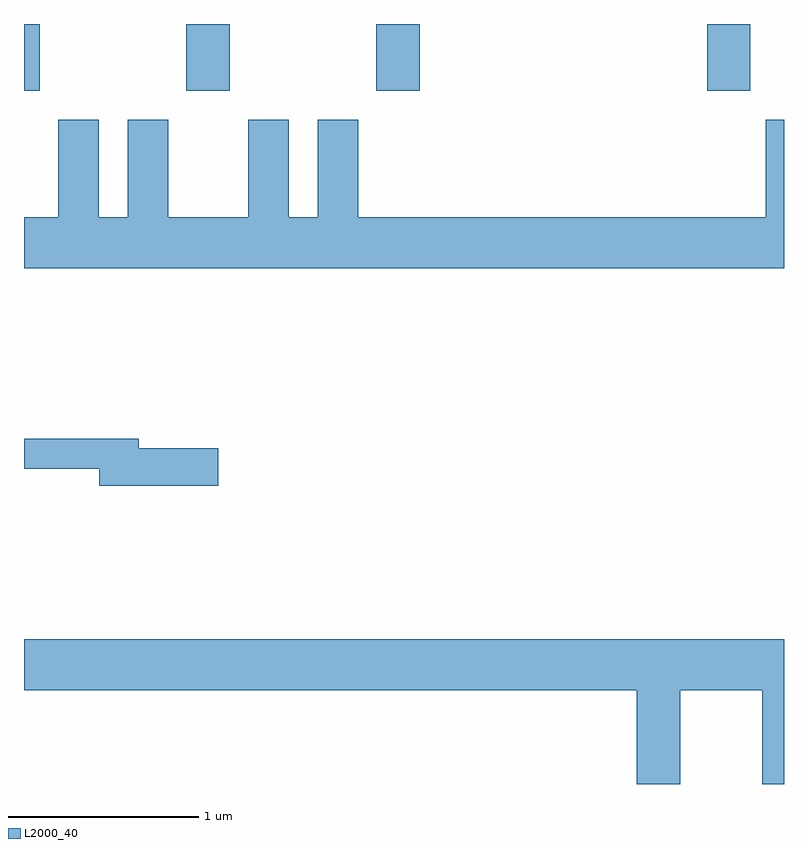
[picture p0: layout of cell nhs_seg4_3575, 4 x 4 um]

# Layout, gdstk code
import gdstk
lib = gdstk.Library(unit=1e-6, precision=1e-09)
def R(c, l, rs):  # rectangles x0, y0, x1, y1
    for r in rs: c.add(gdstk.rectangle(r[:2], r[2:], *l))
def P(c, l, *ps):  # polygons
    for p in ps: c.add(gdstk.Polygon(p, *l))
L2000_40 = (2000, 40)

nhs_seg4_3575 = lib.new_cell('nhs_seg4_3575')
R(nhs_seg4_3575, L2000_40, [(289.611,1335.631,289.694,1335.982), (290.466,1335.631,290.694,1335.982), (291.466,1335.631,291.694,1335.982), (293.206,1335.631,293.434,1335.982)])
P(nhs_seg4_3575, L2000_40, [(293.611,1335.479),(293.516,1335.479),(293.516,1334.964),(291.369,1334.964),(291.369,1335.479),(291.156,1335.479),(291.156,1334.964),(291.004,1334.964),(291.004,1335.479),(290.791,1335.479),(290.791,1334.964),(290.369,1334.964),(290.369,1335.479),(290.156,1335.479),(290.156,1334.964),(290.004,1334.964),(290.004,1335.479),(289.791,1335.479),(289.791,1334.964),(289.611,1334.964),(289.611,1334.696),(293.611,1334.696)],
  [(290.634,1333.749),(290.214,1333.749),(290.214,1333.799),(289.611,1333.799),(289.611,1333.641),(290.006,1333.641),(290.006,1333.551),(290.634,1333.551)],
  [(293.064,1332.476),(293.496,1332.476),(293.496,1331.982),(293.611,1331.982),(293.611,1332.744),(289.611,1332.744),(289.611,1332.476),(292.836,1332.476),(292.836,1331.982),(293.064,1331.982)])

lib.write_gds('nhs_seg4_3575.gds')
